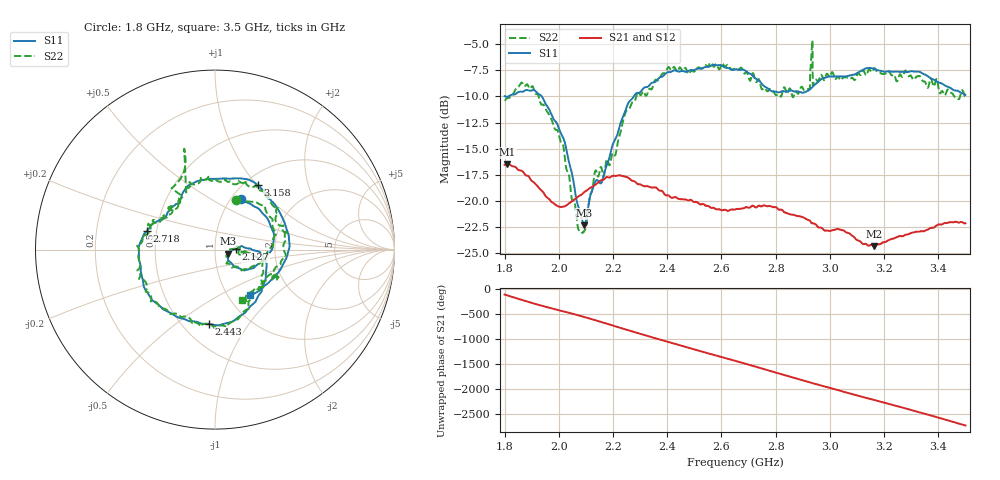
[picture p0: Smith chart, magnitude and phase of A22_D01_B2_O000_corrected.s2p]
! Created with skrf 1.9.0 (http://scikit-rf.org).
# Hz S RI R 50.0
!freq ReS11 ImS11 ReS21 ImS21 ReS12 ImS12 ReS22 ImS22
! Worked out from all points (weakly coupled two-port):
!   1601 points, 1.8 GHz to 3.5 GHz, reference 50 ohm
!   highest |S21| = -16.51 dB at 1.81 GHz (marker M1); lowest = -24.4 dB at 3.163 GHz (marker M2)
!   lowest |S11| = -22.4 dB at 2.094 GHz (marker M3), VSWR 1.17, Z = 57.8 - j2.64 ohm
!   |S11| at or under -10 dB: 1.803 GHz to 1.813 GHz (9.654 MHz wide, 0.534 % of centre); 1.937 GHz to 2.276 GHz (339 MHz wide, 16.1 % of centre)
!   |S22| runs from -23.1 to -4.6 dB; largest |S21 - S12| = 0.0029
!   S11 on the Smith chart (normalised r, x): 1.8 GHz: 1.12, +0.70; 2.127 GHz: 1.26, +0.01; 2.443 GHz: 0.67, -0.67; 2.718 GHz: 0.44, +0.11; 3.158 GHz: 1.15, +1.01; 3.5 GHz: 1.26, -0.72
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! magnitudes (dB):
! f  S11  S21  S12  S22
! 1.8 GHz  -10.0  -16.6  -16.6  -10.4
! 1.81 GHz  -10.0  -16.5  -16.5  -10.1
! 1.882 GHz  -9.4  -17.6  -17.6  -8.8
! 1.965 GHz  -11.3  -19.8  -19.9  -11.8
! 2.021 GHz  -14.3  -20.5  -20.5  -15.6
! 2.084 GHz  -21.5  -19.4  -19.4  -23.0
! 2.094 GHz  -22.4  -19.2  -19.2  -22.9
! 2.127 GHz  -18.7  -18.6  -18.6  -18.3
! 2.159 GHz  -18.2  -18.0  -18.0  -17.0
! 2.208 GHz  -14.1  -17.6  -17.6  -15.6
! 2.258 GHz  -10.6  -17.8  -17.8  -11.2
! 2.367 GHz  -8.3  -19.0  -18.9  -8.4
! 2.443 GHz  -7.6  -19.8  -19.8  -7.3
! 2.65 GHz  -7.4  -20.8  -20.8  -7.3
! 2.718 GHz  -8.1  -20.5  -20.5  -7.8
! 2.867 GHz  -9.5  -21.4  -21.4  -10.0
! 2.918 GHz  -9.5  -21.8  -21.8  -9.3
! 2.934 GHz  -9.2  -22.2  -22.2  -5.3
! 3.158 GHz  -7.3  -24.3  -24.3  -7.6
! 3.163 GHz  -7.3  -24.4  -24.3  -7.3
! 3.217 GHz  -7.6  -23.8  -23.8  -7.6
! 3.5 GHz  -9.8  -22.2  -22.2  -9.9
